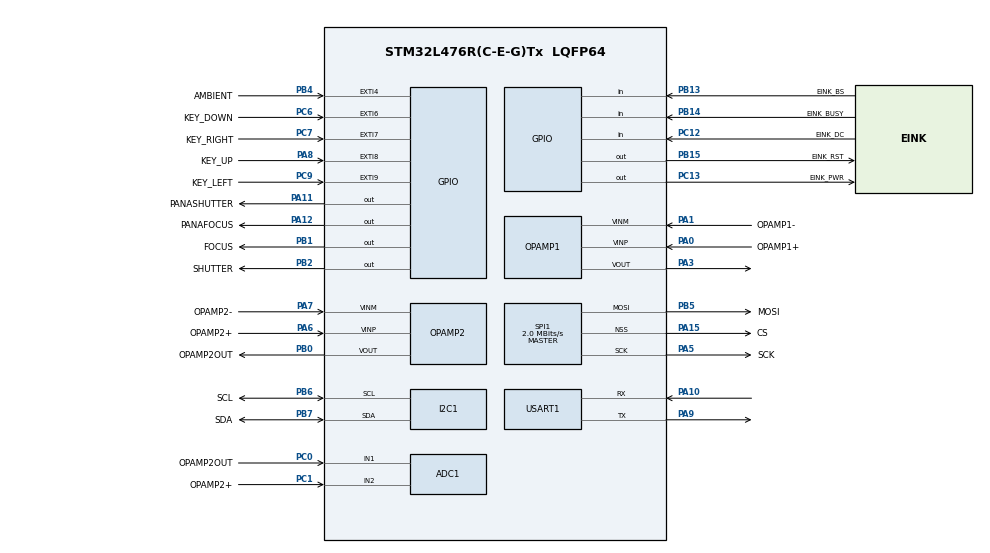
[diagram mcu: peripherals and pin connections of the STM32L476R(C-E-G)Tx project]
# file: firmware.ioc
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ADC1.Channel-0\#ChannelRegularConversion=ADC_CHANNEL_1
ADC1.NbrOfConversionFlag=1
ADC1.OffsetNumber-0\#ChannelRegularConversion=ADC_OFFSET_NONE
ADC1.Rank-0\#ChannelRegularConversion=1
ADC1.SamplingTime-0\#ChannelRegularConversion=ADC_SAMPLETIME_2CYCLES_5
ADC1.SingleDiff-0\#ChannelRegularConversion=ADC_DIFFERENTIAL_ENDED
ADC1.master=1
FREERTOS.Tasks01=defaultTask,0,128,StartDefaultTask,Default,NULL
Mcu.Family=STM32L4
Mcu.Name=STM32L476R(C-E-G)Tx
Mcu.Package=LQFP64
NVIC.PriorityGroup=NVIC_PRIORITYGROUP_4
NVIC.TIM1_UP_TIM16_IRQn=true\:0\:0\:false\:false\:true\:false\:false
NVIC.TimeBase=TIM1_UP_TIM16_IRQn
NVIC.TimeBaseIP=TIM1
OPAMP1.PowerSupplyRange=OPAMP_POWERSUPPLY_LOW
PA0.GPIO_Label=OPAMP1+
PA0.Mode=Standalone
PA0.Signal=OPAMP1_VINP
PA1.GPIO_Label=OPAMP1-
PA1.Mode=Standalone
PA1.Signal=OPAMP1_VINM
PA10.Mode=Asynchronous
PA10.Signal=USART1_RX
PA11.GPIO_Label=PANASHUTTER
PA11.Signal=GPIO_Output
PA12.GPIO_Label=PANAFOCUS
PA12.Signal=GPIO_Output
PA13\ (JTMS-SWDIO).Mode=Trace_Asynchronous_SW
PA13\ (JTMS-SWDIO).Signal=SYS_JTMS-SWDIO
PA14\ (JTCK-SWCLK).Mode=Trace_Asynchronous_SW
PA14\ (JTCK-SWCLK).Signal=SYS_JTCK-SWCLK
PA15\ (JTDI).GPIO_Label=CS
PA15\ (JTDI).Mode=NSS_Signal_Hard_Output
PA15\ (JTDI).Signal=SPI1_NSS
PA3.Mode=Standalone
PA3.Signal=OPAMP1_VOUT
PA5.GPIO_Label=SCK
PA5.Mode=TX_Only_Simplex_Unidirect_Master
PA5.Signal=SPI1_SCK
PA6.GPIO_Label=OPAMP2+
PA6.Mode=PGA Connected
PA6.Signal=OPAMP2_VINP
PA7.GPIO_Label=OPAMP2-
PA7.Mode=PGA Connected
PA7.Signal=OPAMP2_VINM
PA8.GPIO_Label=KEY_UP
PA8.Signal=GPXTI8
PA9.Mode=Asynchronous
PA9.Signal=USART1_TX
PB0.GPIO_Label=OPAMP2OUT
PB0.Mode=PGA Connected
PB0.Signal=OPAMP2_VOUT
PB1.GPIO_Label=FOCUS
PB1.Signal=GPIO_Output
PB13.GPIO_Label=EINK_BS
PB13.Signal=GPIO_Input
PB14.GPIO_Label=EINK_BUSY
PB14.Signal=GPIO_Input
PB15.GPIO_Label=EINK_RST
PB15.Signal=GPIO_Output
PB2.GPIO_Label=SHUTTER
PB2.Signal=GPIO_Output
PB3\ (JTDO-TRACESWO).Mode=Trace_Asynchronous_SW
PB3\ (JTDO-TRACESWO).Signal=SYS_JTDO-SWO
PB4\ (NJTRST).GPIO_Label=AMBIENT
PB4\ (NJTRST).Signal=GPXTI4
PB5.GPIO_Label=MOSI
PB5.Mode=TX_Only_Simplex_Unidirect_Master
PB5.Signal=SPI1_MOSI
PB6.GPIO_Label=SCL
PB6.Mode=I2C
PB6.Signal=I2C1_SCL
PB7.GPIO_Label=SDA
PB7.Mode=I2C
PB7.Signal=I2C1_SDA
PC0.GPIO_Label=OPAMP2OUT
PC0.Signal=ADCx_IN1
PC1.GPIO_Label=OPAMP2+
PC1.Signal=ADCx_IN2
PC12.GPIO_Label=EINK_DC
PC12.Signal=GPIO_Input
PC13.GPIO_Label=EINK_PWR
PC13.Signal=GPIO_Output
PC14-OSC32_IN\ (PC14).Mode=LSE-External-Oscillator
PC14-OSC32_IN\ (PC14).Signal=RCC_OSC32_IN
PC15-OSC32_OUT\ (PC15).Mode=LSE-External-Oscillator
PC15-OSC32_OUT\ (PC15).Signal=RCC_OSC32_OUT
PC5.GPIO_Label=KEY_OK
PC5.Mode=SYS_WakeUp4
PC5.Signal=SYS_WKUP5
PC6.GPIO_Label=KEY_DOWN
PC6.Signal=GPXTI6
PC7.GPIO_Label=KEY_RIGHT
PC7.Signal=GPXTI7
PC9.GPIO_Label=KEY_LEFT
PC9.Signal=GPXTI9
ProjectManager.HeapSize=0x800
ProjectManager.StackSize=0x1000
ProjectManager.TargetToolchain=Makefile
RCC.ADCFreq_Value=32000000
RCC.HSE_VALUE=8000000
RCC.HSI_VALUE=16000000
RCC.MSI_VALUE=4000000
RCC.PLLSAI1N=16
RCC.USBFreq_Value=32000000
RCC.VCOOutputFreq_Value=32000000
SH.ADCx_IN1.0=ADC1_IN1,IN1-Differential
SH.ADCx_IN2.0=ADC1_IN2,IN1-Differential
SPI1.CalculateBaudRate=2.0 MBits/s
SPI1.Direction=SPI_DIRECTION_2LINES
SPI1.Mode=SPI_MODE_MASTER
SPI1.VirtualNSS=VM_NSSHARD
SPI1.VirtualType=VM_MASTER
USART1.VirtualMode-Asynchronous=VM_ASYNC
VP_ADC1_TempSens_Input.Mode=IN-TempSens
VP_ADC1_Vbat_Input.Mode=IN-Vbat
VP_ADC1_Vref_Input.Mode=IN-Vrefint
VP_FREERTOS_VS_ENABLE.Mode=Enabled
VP_RTC_VS_RTC_Activate.Mode=RTC_Enabled
VP_SYS_VS_tim1.Mode=TIM1
VP_WWDG_VS_WWDG.Mode=WWDG_Activate
board=hal

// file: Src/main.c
/**
  ******************************************************************************
  * @file           : main.c
  * @brief          : Main program body
  ******************************************************************************
  * This notice applies to any and all portions of this file
  * that are not between comment pairs USER CODE BEGIN and
  * USER CODE END. Other portions of this file, whether
  * inserted by the user or by software development tools
  * are owned by their respective copyright owners.
  *
  * Copyright (c) 2018 STMicroelectronics International N.V.
  * All rights reserved.
  *
  * Redistribution and use in source and binary forms, with or without
  * modification, are permitted, provided that the following conditions are met:
  *
  * 1. Redistribution of source code must retain the above copyright notice,
  *    this list of conditions and the following disclaimer.
  * 2. Redistributions in binary form must reproduce the above copyright notice,
  *    this list of conditions and the following disclaimer in the documentation
  *    and/or other materials provided with the distribution.
  * 3. Neither the name of STMicroelectronics nor the names of other
  *    contributors to this software may be used to endorse or promote products
  *    derived from this software without specific written permission.
  * 4. This software, including modifications and/or derivative works of this
  *    software, must execute solely and exclusively on microcontroller or
  *    microprocessor devices manufactured by or for STMicroelectronics.
  * 5. Redistribution and use of this software other than as permitted under
  *    this license is void and will automatically terminate your rights under
  *    this license.
  *
  * THIS SOFTWARE IS PROVIDED BY STMICROELECTRONICS AND CONTRIBUTORS "AS IS"
  * AND ANY EXPRESS, IMPLIED OR STATUTORY WARRANTIES, INCLUDING, BUT NOT
  * LIMITED TO, THE IMPLIED WARRANTIES OF MERCHANTABILITY, FITNESS FOR A
  * PARTICULAR PURPOSE AND NON-INFRINGEMENT OF THIRD PARTY INTELLECTUAL PROPERTY
  * RIGHTS ARE DISCLAIMED TO THE FULLEST EXTENT PERMITTED BY LAW. IN NO EVENT
  * SHALL STMICROELECTRONICS OR CONTRIBUTORS BE LIABLE FOR ANY DIRECT, INDIRECT,
  * INCIDENTAL, SPECIAL, EXEMPLARY, OR CONSEQUENTIAL DAMAGES (INCLUDING, BUT NOT
  * LIMITED TO, PROCUREMENT OF SUBSTITUTE GOODS OR SERVICES; LOSS OF USE, DATA,
  * OR PROFITS; OR BUSINESS INTERRUPTION) HOWEVER CAUSED AND ON ANY THEORY OF
  * LIABILITY, WHETHER IN CONTRACT, STRICT LIABILITY, OR TORT (INCLUDING
  * NEGLIGENCE OR OTHERWISE) ARISING IN ANY WAY OUT OF THE USE OF THIS SOFTWARE,
  * EVEN IF ADVISED OF THE POSSIBILITY OF SUCH DAMAGE.
  *
  ******************************************************************************
  */
#include "main.h"
#include "stm32l4xx_hal.h"
#include "cmsis_os.h"
#include "adc.h"
#include "i2c.h"
#include "opamp.h"
#include "rtc.h"
#include "spi.h"
#include "usart.h"
#include "wwdg.h"
#include "gpio.h"

/* USER CODE BEGIN Includes */
#include <stdlib.h>
#include <stdint.h>
#include "global.h"
#include "camera.h"
#include "settings.h"
/* USER CODE END Includes */

/* USER CODE BEGIN PV */
/* Private variables ---------------------------------------------------------*/

/* USER CODE END PV */

void SystemClock_Config(void);
void MX_FREERTOS_Init(void);

/* USER CODE BEGIN PFP */
/* Private function prototypes -----------------------------------------------*/

/* USER CODE END PFP */

int main(void)
{

  /* MCU Configuration----------------------------------------------------------*/

  /* Reset of all peripherals, Initializes the Flash interface and the Systick. */
  HAL_Init();

  /* Configure the system clock */
  SystemClock_Config();

  /* Initialize all configured peripherals */
  MX_GPIO_Init();
  MX_I2C1_Init();
  MX_OPAMP1_Init();
  MX_OPAMP2_Init();
  MX_SPI1_Init();
  MX_USART1_UART_Init();
  MX_ADC1_Init();
  //MX_WWDG_Init();
  MX_RTC_Init();

  /* Call init function for freertos objects (in freertos.c) */
  MX_FREERTOS_Init();

  /* Start scheduler */
  osKernelStart();

  /* We should never get here as control is now taken by the scheduler */

  /* Infinite loop */
  while (1)
  {

  }

}

void SystemClock_Config(void)
{

  RCC_OscInitTypeDef RCC_OscInitStruct;
  RCC_ClkInitTypeDef RCC_ClkInitStruct;
  RCC_PeriphCLKInitTypeDef PeriphClkInit;

    /**Configure LSE Drive Capability
    */
  __HAL_RCC_LSEDRIVE_CONFIG(RCC_LSEDRIVE_LOW);

    /**Initializes the CPU, AHB and APB busses clocks
    */
  RCC_OscInitStruct.OscillatorType = RCC_OSCILLATORTYPE_LSI|RCC_OSCILLATORTYPE_LSE
                              |RCC_OSCILLATORTYPE_MSI;
  RCC_OscInitStruct.LSEState = RCC_LSE_ON;
  RCC_OscInitStruct.LSIState = RCC_LSI_ON;
  RCC_OscInitStruct.MSIState = RCC_MSI_ON;
  RCC_OscInitStruct.MSICalibrationValue = 0;
  RCC_OscInitStruct.MSIClockRange = RCC_MSIRANGE_6;
  RCC_OscInitStruct.PLL.PLLState = RCC_PLL_NONE;
  if (HAL_RCC_OscConfig(&RCC_OscInitStruct) != HAL_OK)
  {
    _Error_Handler(__FILE__, __LINE__);
  }

    /**Initializes the CPU, AHB and APB busses clocks
    */
  RCC_ClkInitStruct.ClockType = RCC_CLOCKTYPE_HCLK|RCC_CLOCKTYPE_SYSCLK
                              |RCC_CLOCKTYPE_PCLK1|RCC_CLOCKTYPE_PCLK2;
  RCC_ClkInitStruct.SYSCLKSource = RCC_SYSCLKSOURCE_MSI;
  RCC_ClkInitStruct.AHBCLKDivider = RCC_SYSCLK_DIV1;
  RCC_ClkInitStruct.APB1CLKDivider = RCC_HCLK_DIV1;
  RCC_ClkInitStruct.APB2CLKDivider = RCC_HCLK_DIV1;

  if (HAL_RCC_ClockConfig(&RCC_ClkInitStruct, FLASH_LATENCY_0) != HAL_OK)
  {
    _Error_Handler(__FILE__, __LINE__);
  }

  PeriphClkInit.PeriphClockSelection = RCC_PERIPHCLK_RTC|RCC_PERIPHCLK_USART1
                              |RCC_PERIPHCLK_I2C1|RCC_PERIPHCLK_ADC;
  PeriphClkInit.Usart1ClockSelection = RCC_USART1CLKSOURCE_PCLK2;
  PeriphClkInit.I2c1ClockSelection = RCC_I2C1CLKSOURCE_PCLK1;
  PeriphClkInit.AdcClockSelection = RCC_ADCCLKSOURCE_PLLSAI1;
  PeriphClkInit.RTCClockSelection = RCC_RTCCLKSOURCE_LSI;
  PeriphClkInit.PLLSAI1.PLLSAI1Source = RCC_PLLSOURCE_MSI;
  PeriphClkInit.PLLSAI1.PLLSAI1M = 1;
  PeriphClkInit.PLLSAI1.PLLSAI1N = 16;
  PeriphClkInit.PLLSAI1.PLLSAI1P = RCC_PLLP_DIV7;
  PeriphClkInit.PLLSAI1.PLLSAI1Q = RCC_PLLQ_DIV2;
  PeriphClkInit.PLLSAI1.PLLSAI1R = RCC_PLLR_DIV2;
  PeriphClkInit.PLLSAI1.PLLSAI1ClockOut = RCC_PLLSAI1_ADC1CLK;
  if (HAL_RCCEx_PeriphCLKConfig(&PeriphClkInit) != HAL_OK)
  {
    _Error_Handler(__FILE__, __LINE__);
  }

    /**Configure the main internal regulator output voltage
    */
  if (HAL_PWREx_ControlVoltageScaling(PWR_REGULATOR_VOLTAGE_SCALE1) != HAL_OK)
  {
    _Error_Handler(__FILE__, __LINE__);
  }

    /**Configure the Systick interrupt time
    */
  HAL_SYSTICK_Config(HAL_RCC_GetHCLKFreq()/1000);

    /**Configure the Systick
    */
  HAL_SYSTICK_CLKSourceConfig(SYSTICK_CLKSOURCE_HCLK);

    /**Enable MSI Auto calibration
    */
  HAL_RCCEx_EnableMSIPLLMode();

  /* SysTick_IRQn interrupt configuration */
  HAL_NVIC_SetPriority(SysTick_IRQn, 15, 0);
}

void HAL_TIM_PeriodElapsedCallback(TIM_HandleTypeDef *htim)
{
  if (htim->Instance == TIM1) {
    HAL_IncTick();
  }
}

void _Error_Handler(char *file, int line)
{
  while(1)
  {
  }
}

/************************ (C) COPYRIGHT STMicroelectronics *****END OF FILE****/

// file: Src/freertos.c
/**
  ******************************************************************************
  * File Name          : freertos.c
  * Description        : Code for freertos applications
  ******************************************************************************
  * This notice applies to any and all portions of this file
  * that are not between comment pairs USER CODE BEGIN and
  * USER CODE END. Other portions of this file, whether
  * inserted by the user or by software development tools
  * are owned by their respective copyright owners.
  *
  * Copyright (c) 2018 STMicroelectronics International N.V.
  * All rights reserved.
  *
  * Redistribution and use in source and binary forms, with or without
  * modification, are permitted, provided that the following conditions are met:
  *
  * 1. Redistribution of source code must retain the above copyright notice,
  *    this list of conditions and the following disclaimer.
  * 2. Redistributions in binary form must reproduce the above copyright notice,
  *    this list of conditions and the following disclaimer in the documentation
  *    and/or other materials provided with the distribution.
  * 3. Neither the name of STMicroelectronics nor the names of other
  *    contributors to this software may be used to endorse or promote products
  *    derived from this software without specific written permission.
  * 4. This software, including modifications and/or derivative works of this
  *    software, must execute solely and exclusively on microcontroller or
  *    microprocessor devices manufactured by or for STMicroelectronics.
  * 5. Redistribution and use of this software other than as permitted under
  *    this license is void and will automatically terminate your rights under
  *    this license.
  *
  * THIS SOFTWARE IS PROVIDED BY STMICROELECTRONICS AND CONTRIBUTORS "AS IS"
  * AND ANY EXPRESS, IMPLIED OR STATUTORY WARRANTIES, INCLUDING, BUT NOT
  * LIMITED TO, THE IMPLIED WARRANTIES OF MERCHANTABILITY, FITNESS FOR A
  * PARTICULAR PURPOSE AND NON-INFRINGEMENT OF THIRD PARTY INTELLECTUAL PROPERTY
  * RIGHTS ARE DISCLAIMED TO THE FULLEST EXTENT PERMITTED BY LAW. IN NO EVENT
  * SHALL STMICROELECTRONICS OR CONTRIBUTORS BE LIABLE FOR ANY DIRECT, INDIRECT,
  * INCIDENTAL, SPECIAL, EXEMPLARY, OR CONSEQUENTIAL DAMAGES (INCLUDING, BUT NOT
  * LIMITED TO, PROCUREMENT OF SUBSTITUTE GOODS OR SERVICES; LOSS OF USE, DATA,
  * OR PROFITS; OR BUSINESS INTERRUPTION) HOWEVER CAUSED AND ON ANY THEORY OF
  * LIABILITY, WHETHER IN CONTRACT, STRICT LIABILITY, OR TORT (INCLUDING
  * NEGLIGENCE OR OTHERWISE) ARISING IN ANY WAY OUT OF THE USE OF THIS SOFTWARE,
  * EVEN IF ADVISED OF THE POSSIBILITY OF SUCH DAMAGE.
  *
  ******************************************************************************
  */

#include "FreeRTOS.h"
#include "task.h"
#include "cmsis_os.h"

/* USER CODE BEGIN Includes */
#include <stdio.h>
#include <stm32l4xx.h>
#include "camera.h"
#include "settings.h"
#include "ipc.h"
#include "sensor.h"
/* USER CODE END Includes */

osThreadId defaultTaskHandle;

/* USER CODE BEGIN Variables */
osThreadId tCamera;
osThreadId tCore;

osPoolDef(qInputPool, 10, ipc_t);
osPoolId  qInputPool;

osMessageQDef(qInput, 10, ipc_t);
osMessageQId qInput;
/* USER CODE END Variables */

void StartDefaultTask(void const * argument);

void MX_FREERTOS_Init(void); /* (MISRA C 2004 rule 8.1) */

/* USER CODE BEGIN FunctionPrototypes */
void fCamera(void const * argument);
void fCore(void const * argument);
/* USER CODE END FunctionPrototypes */

/* Hook prototypes */

/* Init FreeRTOS */

void MX_FREERTOS_Init(void) {

  /* Create the thread(s) */
  /* definition and creation of defaultTask */
  osThreadDef(defaultTask, StartDefaultTask, osPriorityNormal, 1, 128);
  defaultTaskHandle = osThreadCreate(osThread(defaultTask), NULL);

  /* USER CODE BEGIN RTOS_THREADS */
  osThreadDef(cameraTask, fCamera, osPriorityNormal, 1, 128);
  tCamera = osThreadCreate(osThread(cameraTask), NULL);

  osThreadDef(coreTask, fCore, osPriorityNormal, 1, 128);
  tCore = osThreadCreate(osThread(coreTask), NULL);

  osThreadDef(sensor1Task, fSensor, osPriorityNormal, 1, 128);
  tSensor = osThreadCreate(osThread(sensor1Task), NULL);
  /* USER CODE END RTOS_THREADS */

  /* USER CODE BEGIN RTOS_QUEUES */
  qInputPool = osPoolCreate(osPool(qInputPool));
  if(qInputPool == NULL)
  {
	  printf("qInputPool: creation failure.\n");
  }
  qInput = osMessageCreate(osMessageQ(qInput), NULL);
  if(qInput == NULL)
  {
	  printf("qInput: creation failure.\n");
  }
  /* USER CODE END RTOS_QUEUES */
}

/* StartDefaultTask function */
void StartDefaultTask(void const * argument)
{

  /* USER CODE BEGIN StartDefaultTask */
  /* Infinite loop */
  for(;;)
  {
	//printf("Hello World!\n");
    osDelay(1000);
  }
  /* USER CODE END StartDefaultTask */
}

/* USER CODE BEGIN Application */

/* Task that handles optically isolated interface with cameras */
void fCamera(void const * argument)
{
	unsigned int i = 0;
	set_camera_vendor(CANON);
	set_camera_mode(SINGLESHOT);
	trigger_t trigger;
	get_camera_trigger(&trigger);
	//trigger.tSSn = 1.0;

	/* Infinite loop */
	for(;;)
	{
		if (i == 1)
		{
			trigger.focus = true;
			trigger.shutter = false;
			set_camera_trigger(trigger);
			shoot();
		}
		else if (i == 2)
		{
			trigger.focus = false;
			trigger.shutter = true;
			set_camera_trigger(trigger);
			shoot();
		}
		else if (i == 3)
		{
			trigger.focus = true;
			trigger.shutter = true;
			set_camera_trigger(trigger);
			shoot();
			i= 0;
		}

		osDelay(2000);
		i++;
	}
}

void fCore(void const * argument)
{
	osEvent evt;

	/* Infinite loop */
	for(;;)
	{
		evt = osMessageGet(qInput, osWaitForever);
	    if (evt.status == osEventMessage)
		{
	    	ipc_t *pipc = (ipc_t*)evt.value.p;
			if(pipc->type == (uint32_t)IPC_INPUT_KEY)
			{
				asm("nop;");
			}

			osPoolFree(qInputPool, pipc);
	    }
	}
}

int _write(int file, char *ptr, int len)
{
  /* Implement your write code here, this is used by puts and printf for example */
  int i=0;
  for(i=0 ; i<len ; i++)
    ITM_SendChar((*ptr++));
  return len;
}
/* USER CODE END Application */

/************************ (C) COPYRIGHT STMicroelectronics *****END OF FILE****/
